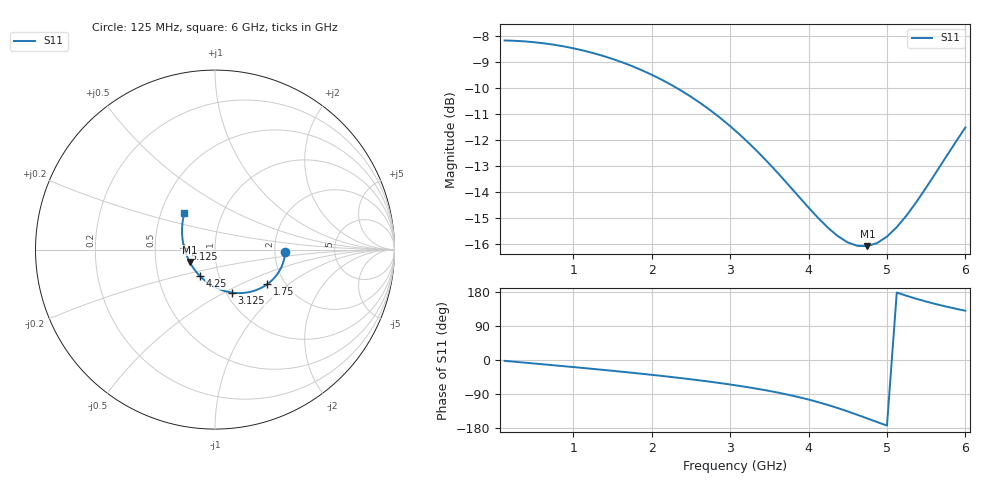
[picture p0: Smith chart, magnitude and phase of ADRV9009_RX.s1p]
! Created Fri Mar 27 14:12:49 2015
! RX Port Z Model. Valid for RX1 and RX2.
! Format : SEDZ : Series Equivalent Differential Z
! Built from Die Layout Post Extraction & EM based Laminate "S"
! Model.
! Port 1 : Differential : Across + & - Input Ports : Board Ball Pad Reference Plane.
# hz S ma R 50
! 1 Port Network Data from SP1.SP block
! freq  magS11  angS11
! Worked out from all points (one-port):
!   48 points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, 125 MHz to 6 GHz, reference 50 ohm
!   lowest |S11| = -16.1 dB at 4.75 GHz (marker M1), VSWR 1.37, Z = 37.3 - j5.21 ohm
!   |S11| at or under -10 dB: 2.324 GHz to end of sweep
!   S11 on the Smith chart (normalised r, x): 125 MHz: 2.28, -0.08; 1.75 GHz: 1.62, -0.72; 3.125 GHz: 1.06, -0.55; 4.25 GHz: 0.81, -0.25; 5.125 GHz: 0.71, +0.01; 6 GHz: 0.66, +0.29
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1.25e8  0.3908 -2.3
5e8  0.3878 -9.2
8.75e8  0.3807 -16.3
1.25e9  0.3697 -23.5
1.625e9  0.3547 -31.1
1.75e9  0.3488 -33.7
2.125e9  0.3286 -41.9
2.375e9  0.313 -47.8
2.75e9  0.2867 -57.5
3.125e9  0.2574 -68.5
3.375e9  0.2367 -77.0
3.5e9  0.2263 -81.7
3.625e9  0.2159 -86.7
3.875e9  0.1958 -98.0
4e9  0.1864 -104.3
4.25e9  0.1704 -118.8
4.375e9  0.1642 -127.0
4.5e9  0.1598 -135.7
4.625e9  0.1573 -144.8
4.75e9  0.1571 -154.3
4.875e9  0.1593 -163.8
5e9  0.1639 -173.1
5.125e9  0.1709 177.9
5.25e9  0.18 169.4
5.375e9  0.191 161.5
5.625e9  0.2177 147.5
5.75e9  0.2329 141.2
6e9  0.2658 130.1
